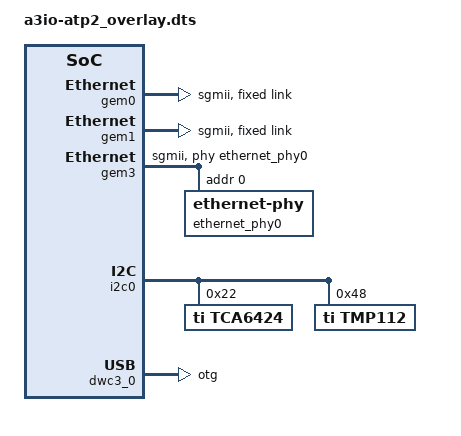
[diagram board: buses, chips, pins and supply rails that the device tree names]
/dts-v1/;
/plugin/;

#include <dt-bindings/input/input.h>
#include <dt-bindings/gpio/gpio.h>
#include <dt-bindings/pinctrl/pinctrl-zynqmp.h>
#include <dt-bindings/phy/phy.h>

&iv_ipmi {
    iv_ipmi_io: iv_io {
        i2c = < 0 0x53 0 >;  // < bus_num addr offset >
        wp {
            i2c_gpio = < 0 0x22 8 1 >; // < bus_num addr gpio_num active_state >
        };
    };
};

&gem0 {
    status = "okay";
    index = <1>; /* Use eth1 */
    phy-mode = "sgmii";
    fixed-link {
          speed = <1000>;
          full-duplex;
    };
};

&gem1 {
    status = "okay";
    index = <2>; /* Use eth2 */
    phy-mode = "sgmii";
    fixed-link {
          speed = <1000>;
          full-duplex;
    };
};

&gem2 {
    status = "disabled";
};

&gem3 {
    status = "okay";
    index = <0>; /* Use eth0 */
    phy-handle = <&ethernet_phy0>;
    phy-mode = "sgmii";
    is-internal-pcspma = "true";
    ethernet_phy0: ethernet-phy@0 {
        reg = <0>;
    };
};

&i2c0 {
    tca6424@22 {
        compatible = "ti,tca6424";
        reg = <0x22>;
        gpio-controller;
        #gpio-cells = <0x02>;
    };

    tmp112@48 {
        compatible = "ti,tmp112";
        reg = <0x48>;
    };
};

&dwc3_0 {
    dr_mode = "otg";
    maximum-speed = "high-speed";
};
